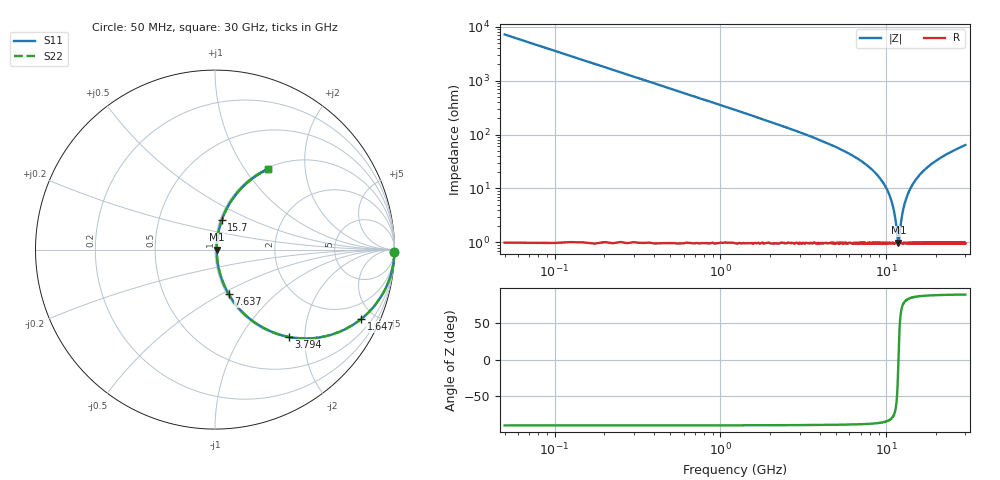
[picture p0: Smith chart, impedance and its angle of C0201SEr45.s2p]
!	AVX Thin Film Operation 	Date: April 2014
!	Description: Accu-P® Series, Thin Film  SMD RF Capacitor
!	Part Number: 02011JR45ZBSTR
# MHZ S MA R 50
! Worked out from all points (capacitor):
!   1201 points, 50 MHz to 30 GHz, reference 50 ohm
!   read as one part in series: C = 448 fF near 199.8 MHz
!   lowest |Z| = 992 mohm at 11.83 GHz (marker M1)
!   series resonance near 11.84 GHz, so ESL is about 400 pH
!   S11 on the Smith chart (normalised r, x): 50 MHz: open; 1.647 GHz: 1.02, -4.21; 3.794 GHz: 1.02, -1.67; 7.637 GHz: 1.02, -0.54; 15.7 GHz: 1.02, +0.34; 30 GHz: 1.02, +1.28
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50  1 -0.8  0.014 89.2  0.014 89.2  1 -0.8
299.583  0.996 -4.8  0.084 85.1  0.084 85.1  0.996 -4.8
549.167  0.988 -8.8  0.154 81.1  0.154 81.1  0.988 -8.8
998.417  0.961 -15.9  0.273 74.0  0.273 74.0  0.961 -15.9
1647.333  0.902 -25.4  0.428 64.4  0.428 64.4  0.902 -25.4
2620.708  0.786 -37.8  0.612 51.8  0.612 51.8  0.786 -37.8
3793.75  0.638 -49.7  0.763 39.6  0.763 39.6  0.638 -49.7
5041.667  0.494 -59.4  0.861 29.6  0.861 29.6  0.494 -59.4
7637.333  0.259 -72.9  0.957 15.0  0.957 15.0  0.259 -72.9
10058.29  0.097 -78.8  0.986 5.5  0.986 5.5  0.097 -78.8
11031.67  0.043 -74.7  0.99 2.4  0.99 2.4  0.043 -74.7
11705.54  0.012 -34.7  0.99 0.4  0.99 0.4  0.012 -34.7
11830.33  0.009639 -2.9  0.99 0.0  0.99 0.0  0.009639 -2.9
11980.08  0.012 35.5  0.99 -0.4  0.99 -0.4  0.012 35.5
12454.29  0.031 70.5  0.99 -1.7  0.99 -1.7  0.031 70.5
13003.38  0.056 77.0  0.989 -3.2  0.989 -3.2  0.056 77.0
13901.88  0.095 78.8  0.986 -5.4  0.986 -5.4  0.095 78.8
15025  0.141 78.0  0.98 -8.1  0.98 -8.1  0.141 78.0
15698.88  0.167 77.1  0.977 -9.6  0.977 -9.6  0.167 77.1
20016.67  0.309 70.3  0.942 -18.0  0.942 -18.0  0.309 70.3
25033.29  0.437 63.0  0.891 -25.9  0.891 -25.9  0.437 63.0
30000  0.535 56.8  0.837 -32.3  0.837 -32.3  0.535 56.8
